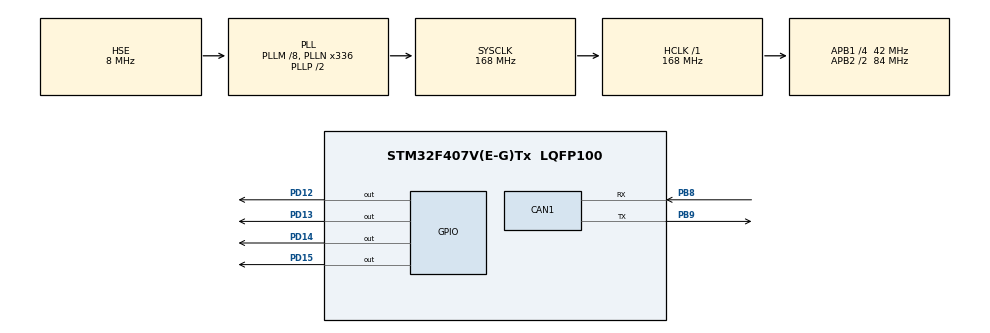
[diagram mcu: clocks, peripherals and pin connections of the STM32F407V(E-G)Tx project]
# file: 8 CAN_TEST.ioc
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CAN1.CalculateTimeQuantum=380.95238095238096
Mcu.Family=STM32F4
Mcu.Name=STM32F407V(E-G)Tx
Mcu.Package=LQFP100
NVIC.PriorityGroup=NVIC_PRIORITYGROUP_4
PB8.Mode=Master
PB8.Signal=CAN1_RX
PB9.Mode=Master
PB9.Signal=CAN1_TX
PD12.Signal=GPIO_Output
PD13.Signal=GPIO_Output
PD14.Signal=GPIO_Output
PD15.Signal=GPIO_Output
PH0-OSC_IN.Mode=HSE-External-Oscillator
PH0-OSC_IN.Signal=RCC_OSC_IN
PH1-OSC_OUT.Mode=HSE-External-Oscillator
PH1-OSC_OUT.Signal=RCC_OSC_OUT
ProjectManager.HeapSize=0x200
ProjectManager.StackSize=0x400
ProjectManager.TargetToolchain=TrueSTUDIO
RCC.48MHZClocksFreq_Value=84000000
RCC.AHBFreq_Value=168000000
RCC.APB1CLKDivider=RCC_HCLK_DIV4
RCC.APB1Freq_Value=42000000
RCC.APB1TimFreq_Value=84000000
RCC.APB2CLKDivider=RCC_HCLK_DIV2
RCC.APB2Freq_Value=84000000
RCC.APB2TimFreq_Value=168000000
RCC.CortexFreq_Value=168000000
RCC.HCLKFreq_Value=168000000
RCC.HSE_VALUE=8000000
RCC.HSI_VALUE=16000000
RCC.PLLM=8
RCC.PLLN=336
RCC.PLLSourceVirtual=RCC_PLLSOURCE_HSE
RCC.SYSCLKFreq_VALUE=168000000
RCC.SYSCLKSource=RCC_SYSCLKSOURCE_PLLCLK
RCC.VCOOutputFreq_Value=336000000
board=custom

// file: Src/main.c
/**
  ******************************************************************************
  * @file           : main.c
  * @brief          : Main program body
  ******************************************************************************
  ** This notice applies to any and all portions of this file
  * that are not between comment pairs USER CODE BEGIN and
  * USER CODE END. Other portions of this file, whether
  * inserted by the user or by software development tools
  * are owned by their respective copyright owners.
  *
  * COPYRIGHT(c) 2019 STMicroelectronics
  *
  * Redistribution and use in source and binary forms, with or without modification,
  * are permitted provided that the following conditions are met:
  *   1. Redistributions of source code must retain the above copyright notice,
  *      this list of conditions and the following disclaimer.
  *   2. Redistributions in binary form must reproduce the above copyright notice,
  *      this list of conditions and the following disclaimer in the documentation
  *      and/or other materials provided with the distribution.
  *   3. Neither the name of STMicroelectronics nor the names of its contributors
  *      may be used to endorse or promote products derived from this software
  *      without specific prior written permission.
  *
  * THIS SOFTWARE IS PROVIDED BY THE COPYRIGHT HOLDERS AND CONTRIBUTORS "AS IS"
  * AND ANY EXPRESS OR IMPLIED WARRANTIES, INCLUDING, BUT NOT LIMITED TO, THE
  * IMPLIED WARRANTIES OF MERCHANTABILITY AND FITNESS FOR A PARTICULAR PURPOSE ARE
  * DISCLAIMED. IN NO EVENT SHALL THE COPYRIGHT HOLDER OR CONTRIBUTORS BE LIABLE
  * FOR ANY DIRECT, INDIRECT, INCIDENTAL, SPECIAL, EXEMPLARY, OR CONSEQUENTIAL
  * DAMAGES (INCLUDING, BUT NOT LIMITED TO, PROCUREMENT OF SUBSTITUTE GOODS OR
  * SERVICES; LOSS OF USE, DATA, OR PROFITS; OR BUSINESS INTERRUPTION) HOWEVER
  * CAUSED AND ON ANY THEORY OF LIABILITY, WHETHER IN CONTRACT, STRICT LIABILITY,
  * OR TORT (INCLUDING NEGLIGENCE OR OTHERWISE) ARISING IN ANY WAY OUT OF THE USE
  * OF THIS SOFTWARE, EVEN IF ADVISED OF THE POSSIBILITY OF SUCH DAMAGE.
  *
  ******************************************************************************
  */
#include "main.h"
#include "stm32f4xx_hal.h"
#include "can.h"
#include "gpio.h"

/* USER CODE BEGIN Includes */
CAN_FilterTypeDef sFilterConfig;
CAN_RxHeaderTypeDef rxHeader;
CAN_TxHeaderTypeDef txHeader;
uint8_t tb[8];
uint8_t rb[8];
uint32_t txMailbox;

/* USER CODE END Includes */

/* USER CODE BEGIN PV */
/* Private variables ---------------------------------------------------------*/

/* USER CODE END PV */

void SystemClock_Config(void);

/* USER CODE BEGIN PFP */
/* Private function prototypes -----------------------------------------------*/

/* USER CODE END PFP */

/* USER CODE BEGIN 0 */
void CAN_Polling(void);

/* USER CODE END 0 */

int main(void)
{

  /* MCU Configuration----------------------------------------------------------*/

  /* Reset of all peripherals, Initializes the Flash interface and the Systick. */
  HAL_Init();

  /* Configure the system clock */
  SystemClock_Config();

  /* Initialize all configured peripherals */
  MX_GPIO_Init();
  MX_CAN1_Init();
  /* USER CODE BEGIN 2 */
  HAL_CAN_Start(&hcan1);
  HAL_GPIO_WritePin(GPIOD, GPIO_PIN_12, SET);
  /* USER CODE END 2 */

  /* Infinite loop */
  /* USER CODE BEGIN WHILE */
  while (1)
  {
    HAL_Delay(500);
    CAN_Polling();
  /* USER CODE END WHILE */

  }

}

void SystemClock_Config(void)
{

  RCC_OscInitTypeDef RCC_OscInitStruct;
  RCC_ClkInitTypeDef RCC_ClkInitStruct;

    /**Configure the main internal regulator output voltage
    */
  __HAL_RCC_PWR_CLK_ENABLE();

  __HAL_PWR_VOLTAGESCALING_CONFIG(PWR_REGULATOR_VOLTAGE_SCALE1);

    /**Initializes the CPU, AHB and APB busses clocks
    */
  RCC_OscInitStruct.OscillatorType = RCC_OSCILLATORTYPE_HSE;
  RCC_OscInitStruct.HSEState = RCC_HSE_ON;
  RCC_OscInitStruct.PLL.PLLState = RCC_PLL_ON;
  RCC_OscInitStruct.PLL.PLLSource = RCC_PLLSOURCE_HSE;
  RCC_OscInitStruct.PLL.PLLM = 8;
  RCC_OscInitStruct.PLL.PLLN = 336;
  RCC_OscInitStruct.PLL.PLLP = RCC_PLLP_DIV2;
  RCC_OscInitStruct.PLL.PLLQ = 4;
  if (HAL_RCC_OscConfig(&RCC_OscInitStruct) != HAL_OK)
  {
    _Error_Handler(__FILE__, __LINE__);
  }

    /**Initializes the CPU, AHB and APB busses clocks
    */
  RCC_ClkInitStruct.ClockType = RCC_CLOCKTYPE_HCLK|RCC_CLOCKTYPE_SYSCLK
                              |RCC_CLOCKTYPE_PCLK1|RCC_CLOCKTYPE_PCLK2;
  RCC_ClkInitStruct.SYSCLKSource = RCC_SYSCLKSOURCE_PLLCLK;
  RCC_ClkInitStruct.AHBCLKDivider = RCC_SYSCLK_DIV1;
  RCC_ClkInitStruct.APB1CLKDivider = RCC_HCLK_DIV4;
  RCC_ClkInitStruct.APB2CLKDivider = RCC_HCLK_DIV2;

  if (HAL_RCC_ClockConfig(&RCC_ClkInitStruct, FLASH_LATENCY_5) != HAL_OK)
  {
    _Error_Handler(__FILE__, __LINE__);
  }

    /**Configure the Systick interrupt time
    */
  HAL_SYSTICK_Config(HAL_RCC_GetHCLKFreq()/1000);

    /**Configure the Systick
    */
  HAL_SYSTICK_CLKSourceConfig(SYSTICK_CLKSOURCE_HCLK);

  /* SysTick_IRQn interrupt configuration */
  HAL_NVIC_SetPriority(SysTick_IRQn, 0, 0);
}

/* USER CODE BEGIN 4 */
void CAN_Polling(void)
{
  sFilterConfig.FilterBank = 0;
  sFilterConfig.FilterMode = CAN_FILTERMODE_IDMASK;
  sFilterConfig.FilterScale = CAN_FILTERSCALE_16BIT;
  sFilterConfig.FilterIdHigh = 0x11<<5;
  sFilterConfig.FilterIdLow = 0x0000;
  sFilterConfig.FilterMaskIdHigh = 0xFFFF;
  sFilterConfig.FilterMaskIdLow = 0xFFFF;

  sFilterConfig.FilterFIFOAssignment = CAN_RX_FIFO0;
  sFilterConfig.FilterActivation = ENABLE;
  sFilterConfig.SlaveStartFilterBank = 14;

  HAL_CAN_ConfigFilter(&hcan1, &sFilterConfig);
  HAL_CAN_Start(&hcan1);

  txHeader.StdId = 0x11;
  txHeader.RTR = CAN_RTR_DATA;
  txHeader.IDE = CAN_ID_STD;
  txHeader.DLC = 3;
  tb[0] = 0xCA;
  tb[1] = 0xFE;
  tb[2] = 0xDA;

  HAL_CAN_AddTxMessage(&hcan1, &txHeader, tb, &txMailbox);
  while(HAL_CAN_GetTxMailboxesFreeLevel(&hcan1) != 3);

  HAL_CAN_GetRxFifoFillLevel(&hcan1, CAN_RX_FIFO0);
  HAL_CAN_GetRxMessage(&hcan1, CAN_RX_FIFO0, &rxHeader, rb);

  if((rxHeader.StdId != 0x11) ||
     (rxHeader.RTR != CAN_RTR_DATA) ||
     (rxHeader.IDE != CAN_ID_STD) ||
     (rxHeader.DLC != 3) ||
     (((uint16_t)rb[0]<<8 | rb[1]) != 0xCAFE) || (rb[2] != 0xDA))
    while(1);

  HAL_GPIO_TogglePin(GPIOD, GPIO_PIN_13);
//  rb[0] = (uint8_t) (rxHeader.StdId >> 8);
//  rb[1] = (uint8_t) (rxHeader.StdId & 0xFF);
}

/* USER CODE END 4 */

void _Error_Handler(char *file, int line)
{
  /* USER CODE BEGIN Error_Handler_Debug */
  /* User can add his own implementation to report the HAL error return state */
  HAL_GPIO_WritePin(GPIOD, GPIO_PIN_12, SET);
  while(1)
  {
  }
  /* USER CODE END Error_Handler_Debug */
}

/************************ (C) COPYRIGHT STMicroelectronics *****END OF FILE****/
